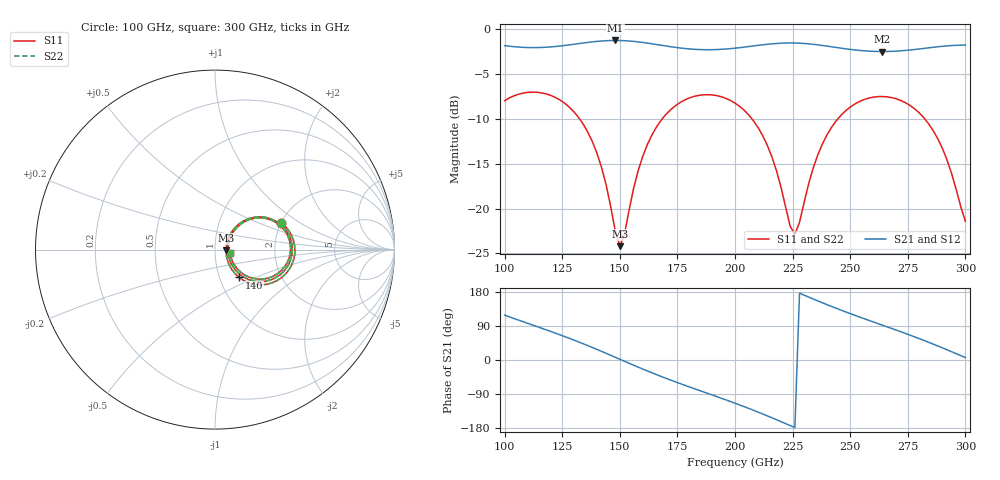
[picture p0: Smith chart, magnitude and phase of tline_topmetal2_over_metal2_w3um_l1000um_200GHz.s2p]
#  GHZ S DB R 50
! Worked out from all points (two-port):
!   101 points, 100 GHz to 300 GHz, reference 50 ohm
!   highest |S21| = -1.27 dB at 148 GHz (marker M1); lowest = -2.5 dB at 264 GHz (marker M2)
!   |S21| within 3 dB of the highest: start of sweep to end of sweep
!   lowest |S11| = -24.2 dB at 150 GHz (marker M3), VSWR 1.13, Z = 56.6 - j0.492 ohm
!   |S11| at or under -10 dB: 132.5 GHz to 168.4 GHz (35.92 GHz wide, 23.9 % of centre); 207.3 GHz to 244.7 GHz (37.35 GHz wide, 16.5 % of centre); 282.3 GHz to end of sweep
!   |S22| runs from -24.3 to -7.0 dB; largest |S21 - S12| = 9.4e-14
!   S11 on the Smith chart (normalised r, x): 100 GHz: 2.01, +0.71; 140 GHz: 1.24, -0.40; 300 GHz: 1.18, -0.05
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100  -7.98 22.0  -1.84 118.4  -1.84 118.4  -7.98 22.1
110  -7.06 3.3  -2.06 96.8  -2.06 96.8  -7.06 3.4
118  -7.22 -11.5  -2.02 79.7  -2.02 79.7  -7.23 -11.5
134  -10.55 -40.9  -1.56 43.1  -1.56 43.1  -10.55 -40.9
140  -13.77 -49.2  -1.37 28.1  -1.37 28.1  -13.78 -49.2
144  -17.30 -49.4  -1.30 17.8  -1.30 17.8  -17.31 -49.5
148  -22.46 -31.1  -1.27 7.3  -1.27 7.3  -22.51 -31.3
150  -24.19 -4.0  -1.27 2.0  -1.27 2.0  -24.27 -3.9
160  -14.15 46.9  -1.49 -23.9  -1.49 -23.9  -14.16 47.1
168  -10.14 35.9  -1.81 -43.5  -1.81 -43.5  -10.14 36.1
184  -7.40 7.2  -2.27 -79.2  -2.27 -79.2  -7.40 7.4
200  -8.24 -21.6  -2.13 -114.0  -2.13 -114.0  -8.24 -21.3
214  -12.94 -43.7  -1.70 -147.4  -1.70 -147.4  -12.93 -43.3
226  -22.84 3.2  -1.55 -178.4  -1.55 -178.4  -22.67 3.3
234  -15.44 45.4  -1.70 160.9  -1.70 160.9  -15.40 45.1
246  -9.60 31.7  -2.13 131.7  -2.13 131.7  -9.60 31.6
264  -7.51 0.4  -2.50 91.9  -2.50 91.9  -7.51 0.4
268  -7.63 -6.7  -2.48 83.2  -2.48 83.2  -7.63 -6.6
278  -8.89 -24.0  -2.27 60.9  -2.27 60.9  -8.89 -23.9
286  -11.30 -36.5  -2.03 42.0  -2.03 42.0  -11.29 -36.3
292  -14.57 -41.4  -1.87 27.0  -1.87 27.0  -14.54 -41.1
300  -21.40 -13.1  -1.79 6.4  -1.79 6.4  -21.25 -12.8
